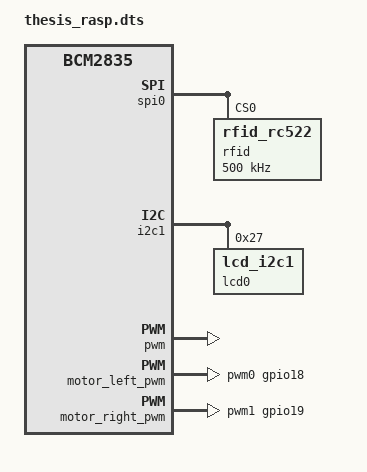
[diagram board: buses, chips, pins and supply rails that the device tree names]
/dts-v1/;
/plugin/;

/ {
	compatible = "brcm,bcm2835";

	fragment@0 {
		target = <&spidev0>;
		__overlay__ {
			status = "disabled";
		};
	};

	fragment@1 {
		target = <&spi0>;
		__overlay__ {
			#address-cells = <1>;
			#size-cells = <0>;
			status = "okay";

			rfid@0 {
				compatible = "rfid_rc522";
				spi-max-frequency = <500000>;
				reg = <0>;
				status = "okay";
			};
		};
	};

	fragment@2 {
		target = <&i2c1>;
		__overlay__ {
			#address-cells = <1>;
			#size-cells = <0>;

			lcd0: lcd_i2c1@27 {
				compatible = "lcd_i2c1";
				reg = <0x27>;
				status = "okay";
			};
		};
	};

    fragment@3 {
            target = <&pwm>;
            frag1: __overlay__ {
                    status = "okay";
            };
    };

    fragment@4 {
            target = <&soc>;
            __overlay__ {
                    motor_left_pwm {
                            compatible = "motor_left";
                            pwms = <&pwm 0 1000000>;
                            pinctrl-names = "default";
                            pinctrl-0 = <&pwm0_gpio18>;
                    };
                    motor_right_pwm {
                            compatible = "motor_right";
                            pwms = <&pwm 1 1000000>;
                            pinctrl-names = "default";
                            pinctrl-0 = <&pwm1_gpio19>;
                    };

            };
    };

};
